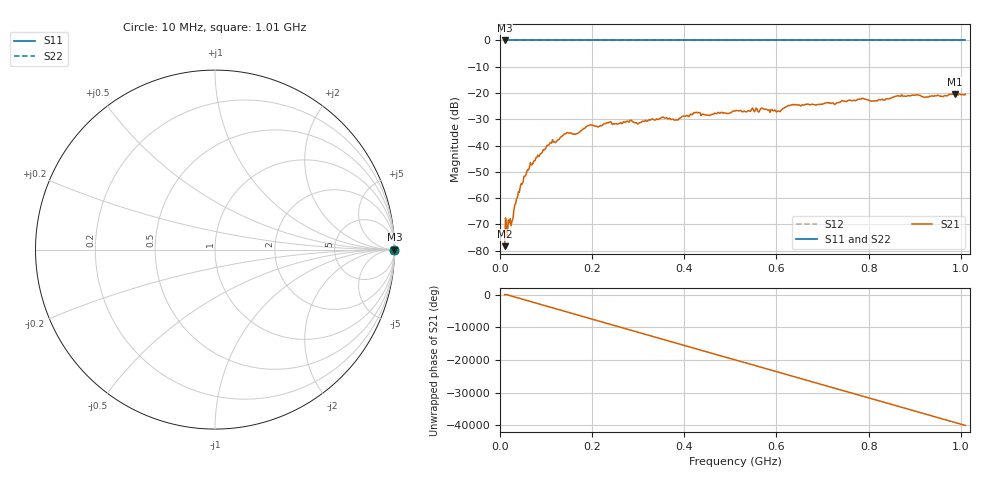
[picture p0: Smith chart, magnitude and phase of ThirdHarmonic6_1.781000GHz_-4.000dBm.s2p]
! 8/16/2025 9:31:36 PM
! C:\ANRITSUVNA\TEMP\TEMP.S2P
! CHANNEL.1
! TR.MEASUREMENT
! RAW.DATA
! RF.CORRECTION.OFF
! AVERAGING.OFF
! IF.BANDWIDTH: 5KHZ
! SWEEPTYPE:  FREQ.SWEEP(Linear)
! Reference Plane Port Info
! PORT:  PORT1  PORT2
! DISTANCE:  0  m  0  m
! TIME:  0  s  0  s
! PHASE.OFFSET:  0  deg.  0  deg.
! LOSS:  0  dB  0  dB
! REF.LOSS:  0  dB  0  dB
! REF.FREQ:  0  Hz  0  Hz
! Power Info
! POWER:  -20  dBm  -20  dBm
! EFF.POWER:  -20  dBm  -20  dBm
! SOURCE.ATTEN:  0  dB  0  dB
! TEST.ATTEN:  0  dB  0  dB
# GHZ S RI R 50.0
! FREQ.GHZ  S11RE  S11IM  S21RE  S21IM  S12RE  S12IM  S22RE  S22IM
!; PortSelection: Port_12
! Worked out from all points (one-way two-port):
!   501 points, 10 MHz to 1.01 GHz, reference 50 ohm
!   highest |S21| = -20.33 dB at 988 MHz (marker M1); lowest = -78.3 dB at 10 MHz (marker M2)
!   lowest |S11| = 0.0 dB at 10 MHz (marker M3)
!   |S11| at or under -10 dB: nowhere
!   |S22| runs from 0.0 to 0.0 dB; largest |S21 - S12| = 1.1
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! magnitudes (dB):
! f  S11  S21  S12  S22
! 10 MHz  0.0  -78.3  0.0  0.0
! 16 MHz  0.0  -74.4  0.0  0.0
! 20 MHz  0.0  -69.4  0.0  0.0
! 28 MHz  0.0  -67.9  0.0  0.0
! 36 MHz  0.0  -60.1  0.0  0.0
! 48 MHz  0.0  -54.7  0.0  0.0
! 64 MHz  0.0  -48.2  0.0  0.0
! 110 MHz  0.0  -38.8  0.0  0.0
! 142 MHz  0.0  -35.5  0.0  0.0
! 178 MHz  0.0  -34.0  0.0  0.0
! 236 MHz  0.0  -31.2  0.0  0.0
! 344 MHz  0.0  -30.1  0.0  0.0
! 382 MHz  0.0  -30.2  0.0  0.0
! 424 MHz  0.0  -27.5  0.0  0.0
! 452 MHz  0.0  -28.4  0.0  0.0
! 510 MHz  0.0  -26.9  0.0  0.0
! 604 MHz  0.0  -26.8  0.0  0.0
! 632 MHz  0.0  -24.5  0.0  0.0
! 678 MHz  0.0  -24.3  0.0  0.0
! 844 MHz  0.0  -22.2  0.0  0.0
! 988 MHz  0.0  -20.3  0.0  0.0
! 1.01 GHz  0.0  -20.6  0.0  0.0
